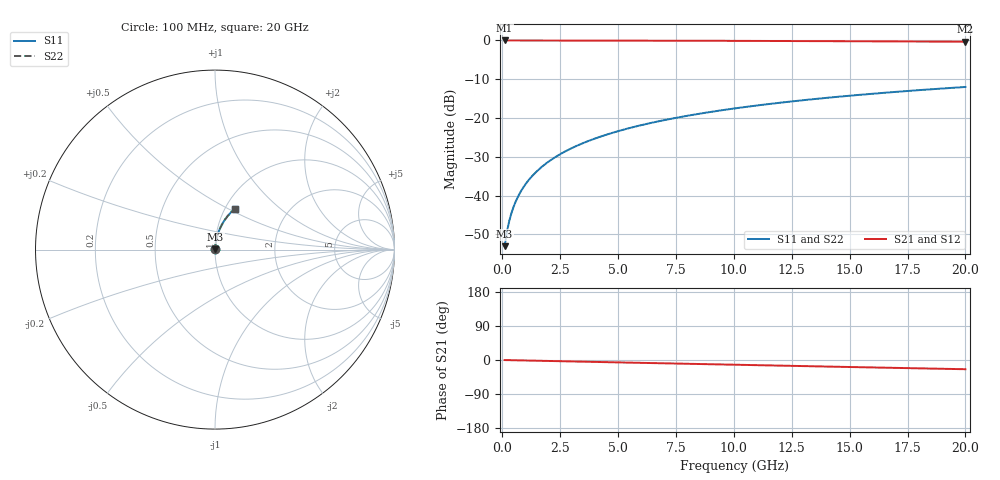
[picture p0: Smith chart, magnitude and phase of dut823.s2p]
! Touchstone file exported from HFSS 2026.1.0
!  File:  C:/ffzhzh/LocalFiles/Ansys_Project_Files/temp_train_BSMRDL_823_1783170078_55132.aedt
!  Generated:  09:02:32 PM Jul  4, 2026
!  Design:  BSMRDL
!  Project:  temp_train_BSMRDL_823_1783170078_55132
! Variables:
!  h_bsmrdl = 3.09um
!  h_ox = 20um
!  h_rdl = 5um
!  h_sub = 80um
!  h_tmrdl = 5um
!  h_tsv = 80um
!  h_via = 3um
!  l_bsmrdl = 304.52um
!  l_sub = 704.52um
!  l_tmrdl = 200um
!  m_sub = 200um
!  pitch = 55.57um
!  r_tsv = 6um
!  s_tmrdl = 10um
!  w_bsmrdl = 25.08um
!  w_sub = 500um
!  w_tmrdl = 12um
!  x_tsv_center1 = 206um
!  x_tsv_center2 = 535.6um
!  x_tsv_center3 = 747.6um
!  x_tsv_center4 = 1077.2um
!  x_tsv_center5 = 1289.2um
!  x_tsv_center6 = 1618.8um
# GHz S MA R 50.000000
! Terminal data exported
! Port[1] = BSM_RDL1_1_T1
! Port[2] = BSM_RDL1_1_T2
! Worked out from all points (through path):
!   200 points, 100 MHz to 20 GHz, reference 50 ohm
!   highest |S21| = -0.01 dB at 100 MHz (marker M1); lowest = -0.3 dB at 20 GHz (marker M2)
!   group delay of S21, straight-line fit = 3.38 ps
!   lowest |S11| = -53.1 dB at 100 MHz (marker M3), VSWR 1.00, Z = 50.2 + j0.148 ohm
!   |S11| at or under -10 dB: start of sweep to end of sweep
!   |S22| runs from -53.1 to -12.0 dB; largest |S21 - S12| = 4.4e-15
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0.1  0.002225 41.6  0.9983 -0.1  0.9983 -0.1  0.002225 41.6
! Gamma 0 0 0 0
! Port Impedance 50 0 50 0
0.2  0.003402 59.2  0.9983 -0.3  0.9983 -0.3  0.003402 59.2
0.3  0.004699 66.9  0.9982 -0.4  0.9982 -0.4  0.004699 66.9
0.4  0.006013 71.2  0.9981 -0.5  0.9981 -0.5  0.006013 71.2
0.5  0.007329 73.9  0.998 -0.6  0.998 -0.6  0.007329 73.9
0.6  0.008647 75.9  0.998 -0.8  0.998 -0.8  0.008647 75.9
0.8  0.01129 78.5  0.9979 -1.0  0.9979 -1.0  0.01129 78.5
1.1  0.01529 80.6  0.9978 -1.4  0.9978 -1.4  0.01529 80.6
1.5  0.02066 82.0  0.9976 -1.9  0.9976 -1.9  0.02066 82.0
1.8  0.0247 82.5  0.9975 -2.3  0.9975 -2.3  0.0247 82.5
2.1  0.02874 82.8  0.9973 -2.7  0.9973 -2.7  0.02874 82.8
2.7  0.03682 82.9  0.9969 -3.4  0.9969 -3.4  0.03682 82.9
3.5  0.04758 82.5  0.9963 -4.4  0.9963 -4.4  0.04758 82.5
4.2  0.05694 82.0  0.9957 -5.3  0.9957 -5.3  0.05694 82.0
5  0.06759 81.2  0.9948 -6.3  0.9948 -6.3  0.06759 81.2
5.9  0.07949 80.3  0.9937 -7.4  0.9937 -7.4  0.07949 80.3
6.8  0.09128 79.3  0.9924 -8.5  0.9924 -8.5  0.09128 79.3
8.3  0.1107 77.6  0.99 -10.4  0.99 -10.4  0.1107 77.6
10.1  0.1336 75.6  0.9867 -12.6  0.9867 -12.6  0.1336 75.6
13.4  0.1744 71.8  0.9796 -16.6  0.9796 -16.6  0.1744 71.8
16.7  0.2136 68.0  0.9712 -20.5  0.9712 -20.5  0.2136 68.0
20  0.2509 64.2  0.9618 -24.3  0.9618 -24.3  0.2509 64.3
